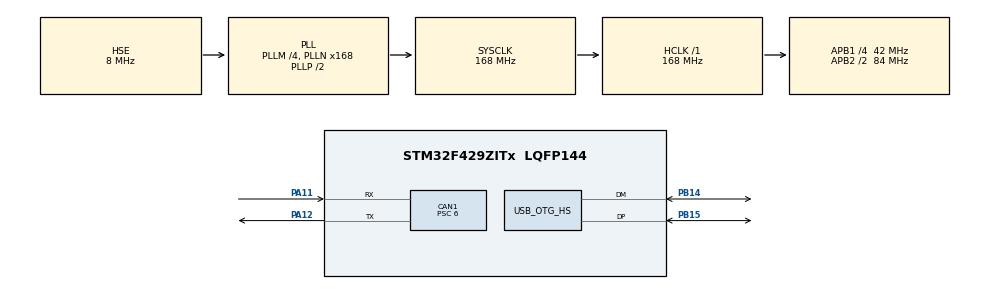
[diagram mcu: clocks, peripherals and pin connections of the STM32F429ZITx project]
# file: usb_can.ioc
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CAN1.BS1=CAN_BS1_4TQ
CAN1.BS2=CAN_BS2_2TQ
CAN1.CalculateBaudRate=1000000
CAN1.CalculateTimeBit=1000
CAN1.CalculateTimeQuantum=142.85714285714286
CAN1.Prescaler=6
Mcu.Family=STM32F4
Mcu.Name=STM32F429ZITx
Mcu.Package=LQFP144
NVIC.CAN1_RX0_IRQn=true\:0\:0\:false\:false\:true\:true\:true\:true
NVIC.CAN1_RX1_IRQn=true\:0\:0\:false\:false\:true\:true\:true\:true
NVIC.CAN1_SCE_IRQn=true\:0\:0\:false\:false\:true\:true\:true\:true
NVIC.CAN1_TX_IRQn=true\:0\:0\:false\:false\:true\:true\:true\:true
NVIC.OTG_HS_IRQn=true\:0\:0\:false\:false\:true\:false\:true\:true
NVIC.PriorityGroup=NVIC_PRIORITYGROUP_4
PA11.Mode=CAN_Activate
PA11.Signal=CAN1_RX
PA12.Mode=CAN_Activate
PA12.Signal=CAN1_TX
PA13.Mode=Serial_Wire
PA13.Signal=SYS_JTMS-SWDIO
PA14.Mode=Serial_Wire
PA14.Signal=SYS_JTCK-SWCLK
PB14.Mode=Device_Only_FS
PB14.Signal=USB_OTG_HS_DM
PB15.Mode=Device_Only_FS
PB15.Signal=USB_OTG_HS_DP
PH0/OSC_IN.Mode=HSE-External-Oscillator
PH0/OSC_IN.Signal=RCC_OSC_IN
PH1/OSC_OUT.Mode=HSE-External-Oscillator
PH1/OSC_OUT.Signal=RCC_OSC_OUT
ProjectManager.HeapSize=0x200
ProjectManager.StackSize=0x400
ProjectManager.TargetToolchain=Makefile
RCC.48MHZClocksFreq_Value=48000000
RCC.AHBFreq_Value=168000000
RCC.APB1CLKDivider=RCC_HCLK_DIV4
RCC.APB1Freq_Value=42000000
RCC.APB1TimFreq_Value=84000000
RCC.APB2CLKDivider=RCC_HCLK_DIV2
RCC.APB2Freq_Value=84000000
RCC.APB2TimFreq_Value=168000000
RCC.CortexFreq_Value=168000000
RCC.HCLKFreq_Value=168000000
RCC.HSE_VALUE=8000000
RCC.HSI_VALUE=16000000
RCC.LSE_VALUE=32768
RCC.PLLM=4
RCC.PLLN=168
RCC.PLLQ=7
RCC.SYSCLKFreq_VALUE=168000000
RCC.SYSCLKSource=RCC_SYSCLKSOURCE_PLLCLK
RCC.VCOOutputFreq_Value=336000000
USB_DEVICE.CLASS_NAME_HS=CDC
USB_DEVICE.MANUFACTURER_STRING-CDC_HS=By Ashlee
USB_DEVICE.PRODUCT_STRING_CDC_HS=Athena USB-CAN
USB_DEVICE.VirtualMode-CDC_HS=Cdc
USB_DEVICE.VirtualModeHS=Cdc_HS
USB_OTG_HS.VirtualMode-Device_Only_FS=Device_Only_FS
VP_CRC_VS_CRC.Mode=CRC_Activate
VP_USB_DEVICE_VS_USB_DEVICE_CDC_HS.Mode=CDC_HS
board=custom

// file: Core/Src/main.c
/* USER CODE BEGIN Header */
/**
  ******************************************************************************
  * @file           : main.c
  * @brief          : Main program body
  ******************************************************************************
  * @attention
  *
  * Copyright (c) 2022 STMicroelectronics.
  * All rights reserved.
  *
  * This software is licensed under terms that can be found in the LICENSE file
  * in the root directory of this software component.
  * If no LICENSE file comes with this software, it is provided AS-IS.
  *
  ******************************************************************************
  */
/* USER CODE END Header */
#include "main.h"
#include "can.h"
#include "crc.h"
#include "usb_device.h"
#include "gpio.h"

/* USER CODE BEGIN Includes */
#include "usbd_cdc_if.h"
/* USER CODE END Includes */

/* USER CODE BEGIN PV */
CAN_FilterTypeDef sFilterConfig;
/* USER CODE END PV */

void SystemClock_Config(void);

/* USER CODE BEGIN 0 */
void HAL_CAN_RxFifo0MsgPendingCallback(CAN_HandleTypeDef *hcan)
{
  while (HAL_CAN_GetRxFifoFillLevel(&hcan1, CAN_RX_FIFO0) > 0) {
    sHubRxMsg.header.magic = 0x5aa5;
    sHubRxMsg.header.tag = TAG_RX_MSG;
    sHubRxMsg.header.length = sizeof(sHubRxMsg);
    if (HAL_OK == HAL_CAN_GetRxMessage(&hcan1, CAN_RX_FIFO0, &rxMsgHeader, sHubRxMsg.data)) {
      sHubRxMsg.id = rxMsgHeader.IDE == CAN_ID_STD ? rxMsgHeader.StdId : rxMsgHeader.ExtId;
      sHubRxMsg.ide = rxMsgHeader.IDE;
      sHubRxMsg.dlc = rxMsgHeader.DLC;
      CDC_Transmit_HS((uint8_t *)&sHubRxMsg, sizeof(sHubRxMsg));
    }
    // send error
  }
}

void HAL_CAN_ErrorCallback(CAN_HandleTypeDef *hcan)
{
}
/* USER CODE END 0 */

int main(void)
{

  /* MCU Configuration--------------------------------------------------------*/

  /* Reset of all peripherals, Initializes the Flash interface and the Systick. */
  HAL_Init();

  /* Configure the system clock */
  SystemClock_Config();

  /* Initialize all configured peripherals */
  MX_GPIO_Init();
  MX_CAN1_Init();
  MX_USB_DEVICE_Init();
  MX_CRC_Init();
  /* USER CODE BEGIN 2 */
  sFilterConfig.FilterIdHigh = 0x0000;
  sFilterConfig.FilterIdLow = 0x0000;
  sFilterConfig.FilterMaskIdHigh = 0x0000;
  sFilterConfig.FilterMaskIdLow = 0x0000;
  sFilterConfig.FilterFIFOAssignment = 0U;
  sFilterConfig.FilterBank = 0U;
  sFilterConfig.FilterMode = CAN_FILTERMODE_IDMASK;
  sFilterConfig.FilterScale = CAN_FILTERSCALE_32BIT;
  sFilterConfig.FilterActivation = CAN_FILTER_ENABLE;
  sFilterConfig.SlaveStartFilterBank = 14;

  HAL_CAN_ConfigFilter(&hcan1, &sFilterConfig);
  HAL_CAN_ActivateNotification(&hcan1, CAN_IT_RX_FIFO0_MSG_PENDING | CAN_IT_ERROR);
  /* USER CODE END 2 */

  /* Infinite loop */
  /* USER CODE BEGIN WHILE */
  HAL_CAN_Start(&hcan1);
  while (1)
  {
    /* USER CODE END WHILE */

    /* USER CODE BEGIN 3 */
    HAL_Delay(1000);
  }
  HAL_CAN_Stop(&hcan1);
  /* USER CODE END 3 */
}

void SystemClock_Config(void)
{
  RCC_OscInitTypeDef RCC_OscInitStruct = {0};
  RCC_ClkInitTypeDef RCC_ClkInitStruct = {0};

  /** Configure the main internal regulator output voltage
  */
  __HAL_RCC_PWR_CLK_ENABLE();
  __HAL_PWR_VOLTAGESCALING_CONFIG(PWR_REGULATOR_VOLTAGE_SCALE1);

  /** Initializes the RCC Oscillators according to the specified parameters
  * in the RCC_OscInitTypeDef structure.
  */
  RCC_OscInitStruct.OscillatorType = RCC_OSCILLATORTYPE_HSE;
  RCC_OscInitStruct.HSEState = RCC_HSE_ON;
  RCC_OscInitStruct.PLL.PLLState = RCC_PLL_ON;
  RCC_OscInitStruct.PLL.PLLSource = RCC_PLLSOURCE_HSE;
  RCC_OscInitStruct.PLL.PLLM = 4;
  RCC_OscInitStruct.PLL.PLLN = 168;
  RCC_OscInitStruct.PLL.PLLP = RCC_PLLP_DIV2;
  RCC_OscInitStruct.PLL.PLLQ = 7;
  if (HAL_RCC_OscConfig(&RCC_OscInitStruct) != HAL_OK)
  {
    Error_Handler();
  }

  /** Initializes the CPU, AHB and APB buses clocks
  */
  RCC_ClkInitStruct.ClockType = RCC_CLOCKTYPE_HCLK|RCC_CLOCKTYPE_SYSCLK
                              |RCC_CLOCKTYPE_PCLK1|RCC_CLOCKTYPE_PCLK2;
  RCC_ClkInitStruct.SYSCLKSource = RCC_SYSCLKSOURCE_PLLCLK;
  RCC_ClkInitStruct.AHBCLKDivider = RCC_SYSCLK_DIV1;
  RCC_ClkInitStruct.APB1CLKDivider = RCC_HCLK_DIV4;
  RCC_ClkInitStruct.APB2CLKDivider = RCC_HCLK_DIV2;

  if (HAL_RCC_ClockConfig(&RCC_ClkInitStruct, FLASH_LATENCY_5) != HAL_OK)
  {
    Error_Handler();
  }
}

void Error_Handler(void)
{
  __disable_irq();
  while (1)
  {
  }
}
